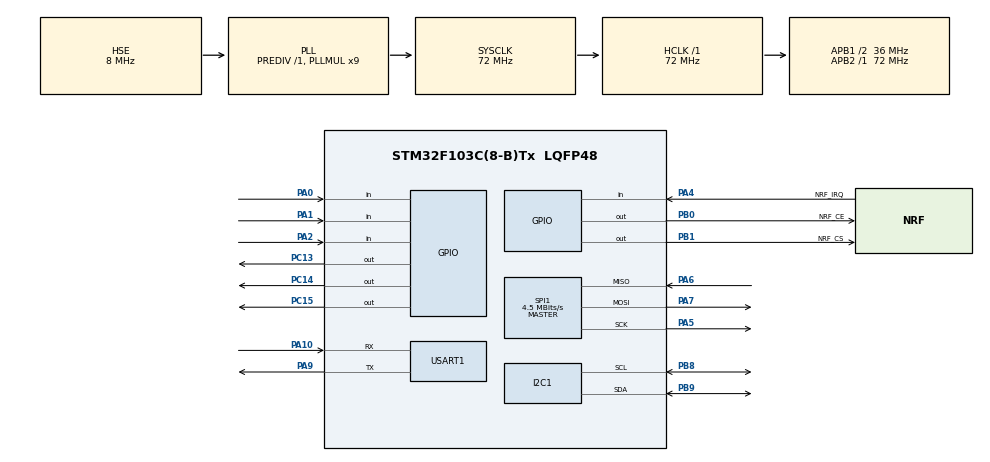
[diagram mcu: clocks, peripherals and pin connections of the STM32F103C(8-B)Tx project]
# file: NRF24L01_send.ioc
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Mcu.Family=STM32F1
Mcu.Name=STM32F103C(8-B)Tx
Mcu.Package=LQFP48
NVIC.PriorityGroup=NVIC_PRIORITYGROUP_4
NVIC.TIM3_IRQn=true\:0\:0\:false\:false\:true\:true\:true\:true
NVIC.USART1_IRQn=true\:0\:0\:false\:false\:true\:true\:true\:true
PA0-WKUP.GPIO_PuPd=GPIO_PULLUP
PA0-WKUP.Signal=GPIO_Input
PA1.GPIO_PuPd=GPIO_PULLUP
PA1.Signal=GPIO_Input
PA10.Mode=Asynchronous
PA10.Signal=USART1_RX
PA13.Mode=Serial_Wire
PA13.Signal=SYS_JTMS-SWDIO
PA14.Mode=Serial_Wire
PA14.Signal=SYS_JTCK-SWCLK
PA2.GPIO_PuPd=GPIO_PULLUP
PA2.Signal=GPIO_Input
PA4.GPIO_Label=NRF_IRQ
PA4.GPIO_PuPd=GPIO_PULLUP
PA4.Signal=GPIO_Input
PA5.Mode=Full_Duplex_Master
PA5.Signal=SPI1_SCK
PA6.Mode=Full_Duplex_Master
PA6.Signal=SPI1_MISO
PA7.Mode=Full_Duplex_Master
PA7.Signal=SPI1_MOSI
PA9.Mode=Asynchronous
PA9.Signal=USART1_TX
PB0.GPIO_Label=NRF_CE
PB0.GPIO_PuPd=GPIO_PULLUP
PB0.GPIO_Speed=GPIO_SPEED_FREQ_HIGH
PB0.Signal=GPIO_Output
PB1.GPIO_Label=NRF_CS
PB1.GPIO_PuPd=GPIO_PULLUP
PB1.GPIO_Speed=GPIO_SPEED_FREQ_HIGH
PB1.PinState=GPIO_PIN_SET
PB1.Signal=GPIO_Output
PB8.Mode=I2C
PB8.Signal=I2C1_SCL
PB9.Mode=I2C
PB9.Signal=I2C1_SDA
PC13-TAMPER-RTC.GPIO_Speed=GPIO_SPEED_FREQ_HIGH
PC13-TAMPER-RTC.PinState=GPIO_PIN_SET
PC13-TAMPER-RTC.Signal=GPIO_Output
PC14-OSC32_IN.PinState=GPIO_PIN_SET
PC14-OSC32_IN.Signal=GPIO_Output
PC15-OSC32_OUT.PinState=GPIO_PIN_SET
PC15-OSC32_OUT.Signal=GPIO_Output
PD0-OSC_IN.Mode=HSE-External-Oscillator
PD0-OSC_IN.Signal=RCC_OSC_IN
PD1-OSC_OUT.Mode=HSE-External-Oscillator
PD1-OSC_OUT.Signal=RCC_OSC_OUT
ProjectManager.HeapSize=0x200
ProjectManager.StackSize=0x400
ProjectManager.TargetToolchain=MDK-ARM V5.32
RCC.AHBFreq_Value=72000000
RCC.APB1CLKDivider=RCC_HCLK_DIV2
RCC.APB1Freq_Value=36000000
RCC.APB1TimFreq_Value=72000000
RCC.APB2Freq_Value=72000000
RCC.APB2TimFreq_Value=72000000
RCC.HCLKFreq_Value=72000000
RCC.PLLMUL=RCC_PLL_MUL9
RCC.PLLSourceVirtual=RCC_PLLSOURCE_HSE
RCC.SYSCLKFreq_VALUE=72000000
RCC.SYSCLKSource=RCC_SYSCLKSOURCE_PLLCLK
RCC.USBFreq_Value=72000000
SPI1.BaudRatePrescaler=SPI_BAUDRATEPRESCALER_16
SPI1.CalculateBaudRate=4.5 MBits/s
SPI1.Direction=SPI_DIRECTION_2LINES
SPI1.Mode=SPI_MODE_MASTER
SPI1.VirtualType=VM_MASTER
TIM3.Period=10000-1
TIM3.Prescaler=72-1
USART1.VirtualMode=VM_ASYNC
VP_TIM3_VS_ClockSourceINT.Mode=Internal
board=custom

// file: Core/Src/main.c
/* USER CODE BEGIN Header */
/**
  ******************************************************************************
  * @file           : main.c
  * @brief          : Main program body
  ******************************************************************************
  * @attention
  *
  * Copyright (c) 2024 STMicroelectronics.
  * All rights reserved.
  *
  * This software is licensed under terms that can be found in the LICENSE file
  * in the root directory of this software component.
  * If no LICENSE file comes with this software, it is provided AS-IS.
  *
  ******************************************************************************
  */
/* USER CODE END Header */
#include "main.h"
#include "i2c.h"
#include "spi.h"
#include "tim.h"
#include "usart.h"
#include "gpio.h"

/* USER CODE BEGIN Includes */
#include "stdio.h"
#include "string.h"
#include "NRF24L01.h"
#include "key.h"
#include "led.h"
#include "OLED.h"
/* USER CODE END Includes */

/* USER CODE BEGIN PTD */
extern struct keys key[];

// 按键计数变量
uint32_t key1_press_count = 0; // PA0按下计数
uint32_t key2_press_count = 0; // PA1按下计数
uint32_t key3_press_count = 0; // PB10按下计数
char buffer[16];  // 用于存储转换后的字符串

/* USER CODE END PTD */

void SystemClock_Config(void);

int main(void)
{

  /* USER CODE BEGIN 1 */
//uint8_t Send_Out[33]="本段数据来自NRF24L01发送端 ";   //要发送的内容(单次最多32个字节)

  /* USER CODE END 1 */

  /* MCU Configuration--------------------------------------------------------*/

  /* Reset of all peripherals, Initializes the Flash interface and the Systick. */
  HAL_Init();

  /* Configure the system clock */
  SystemClock_Config();

  /* Initialize all configured peripherals */
  MX_GPIO_Init();
  MX_SPI1_Init();
  MX_USART1_UART_Init();
  MX_I2C1_Init();
  MX_TIM3_Init();
  /* USER CODE BEGIN 2 */
  OLED_Init();
  OLED_Clear();
	OLED_ShowString(4, 15, "OK");

	HAL_TIM_Base_Start_IT(&htim3);

while(NRF24L01_Check())
    {
        printf("检测不到NRF24L01无线模块，请检查硬件连接\r\n");
        HAL_Delay(1000);
    }

    printf("NRF24L01无线模块硬件连接正常\r\n");
    NRF24L01_TX_Mode();//设置为发送模式
    printf("进入数据发送模式，每1s发送一次数据\r\n");
  /* USER CODE END 2 */

  /* Infinite loop */
  while (1)
  {

    /* USER CODE BEGIN 3 */
      // 检测按键1是否被按下
//    if(HAL_GPIO_ReadPin(GPIOA,GPIO_PIN_0)==GPIO_PIN_RESET) // 按键1低电平有效
//    {
//        uint8_t Send_Out[2] = "1";  // 准备发送数字"1"
//
//        if (NRF24L01_TxPacket(Send_Out) == TX_OK)
//        {
//            printf("NRF24L01无线模块数据发送成功：%s\r\n", Send_Out);
//            printf("OK\r\n");
//            OLED_ShowString(8, 2, (char*)Send_Out);  // 在OLED上显示接收到的数字

//        }
//        else
//        {
//            printf("NRF24L01无线模块数据发送失败\r\n");
//        }

//        HAL_Delay(20);  // 消抖延时
//    }
//
//     // 检测按键2是否被按下
//    if(HAL_GPIO_ReadPin(GPIOA,GPIO_PIN_1)==GPIO_PIN_RESET) // 按键2低电平有效
//    {
//        uint8_t Send_Out[2] = "2";  // 准备发送数字"2"

//			 HAL_Delay(20);  // 消抖延时
//
//        if (NRF24L01_TxPacket(Send_Out) == TX_OK)
//        {
//            printf("NRF24L01无线模块数据发送成功：%s\r\n", Send_Out);
//            printf("OK\r\n");
//            OLED_ShowString(8, 2, (char*)Send_Out);  // 在OLED上显示接收到的数字

//        }
//        else
//        {
//            printf("NRF24L01无线模块数据发送失败\r\n");
//        }

//
//    }

//    // 检测按键3是否被按下
//    if(HAL_GPIO_ReadPin(GPIOA,GPIO_PIN_2)==GPIO_PIN_RESET) // 按键3低电平有效
//    {
//
//        uint8_t Send_Out[2] = "3";  // 准备发送数字"3"
//
//        if (NRF24L01_TxPacket(Send_Out) == TX_OK)
//        {
//            printf("NRF24L01无线模块数据发送成功：%s\r\n", Send_Out);
//            printf("OK\r\n");
//            OLED_ShowString(8, 2, (char*)Send_Out);  // 在OLED上显示接收到的数字
//
//        }
//        else
//        {
//            printf("NRF24L01无线模块数据发送失败\r\n");
//        }

//        HAL_Delay(20);  // 消抖延时
//    }

			if(key[0].single_flag==1)
			{
				 uint8_t Send_Out[2] = "1";  // 准备发送数字"1"

				key1_press_count++;
				OLED_ShowString(1, 1, "key1_num:");
    OLED_ShowNum(1, 11, key1_press_count, 2); // 显示按键3被按下的次数

        if (NRF24L01_TxPacket(Send_Out) == TX_OK)
        {
            printf("NRF24L01无线模块数据发送成功：%s\r\n", Send_Out);
            printf("OK\r\n");
            OLED_ShowString(8, 2, (char*)Send_Out);  // 在OLED上显示接收到的数字

        }
        else
        {
            printf("NRF24L01无线模块数据发送失败\r\n");
        }

				key[0].single_flag=0;
			}

			if(key[1].single_flag==1)
			{
				uint8_t Send_Out[2] = "2";  // 准备发送数字"2"

				key2_press_count++;
				OLED_ShowString(2, 1, "key2_num:");
    OLED_ShowNum(2, 11, key2_press_count, 2); // 显示按键3被按下的次数

        if (NRF24L01_TxPacket(Send_Out) == TX_OK)
        {
            printf("NRF24L01无线模块数据发送成功：%s\r\n", Send_Out);
            printf("OK\r\n");
            OLED_ShowString(8, 2, (char*)Send_Out);  // 在OLED上显示接收到的数字

        }
        else
        {
            printf("NRF24L01无线模块数据发送失败\r\n");
        }

				key[1].single_flag=0;
			}

			if(key[2].single_flag==1)
			{
				key3_press_count++;
				OLED_ShowString(3, 1, "key3_num:");
    OLED_ShowNum(3, 11, key3_press_count, 2); // 显示按键3被按下的次数

				 uint8_t Send_Out[2] = "3";  // 准备发送数字"3"

        if (NRF24L01_TxPacket(Send_Out) == TX_OK)
        {
            printf("NRF24L01无线模块数据发送成功：%s\r\n", Send_Out);
            printf("OK\r\n");
            OLED_ShowString(8, 2, (char*)Send_Out);  // 在OLED上显示接收到的数字

        }
        else
        {
            printf("NRF24L01无线模块数据发送失败\r\n");
        }

				key[2].single_flag=0;
			}

  }
  /* USER CODE END 3 */
}

void SystemClock_Config(void)
{
  RCC_OscInitTypeDef RCC_OscInitStruct = {0};
  RCC_ClkInitTypeDef RCC_ClkInitStruct = {0};

  /** Initializes the RCC Oscillators according to the specified parameters
  * in the RCC_OscInitTypeDef structure.
  */
  RCC_OscInitStruct.OscillatorType = RCC_OSCILLATORTYPE_HSE;
  RCC_OscInitStruct.HSEState = RCC_HSE_ON;
  RCC_OscInitStruct.HSEPredivValue = RCC_HSE_PREDIV_DIV1;
  RCC_OscInitStruct.HSIState = RCC_HSI_ON;
  RCC_OscInitStruct.PLL.PLLState = RCC_PLL_ON;
  RCC_OscInitStruct.PLL.PLLSource = RCC_PLLSOURCE_HSE;
  RCC_OscInitStruct.PLL.PLLMUL = RCC_PLL_MUL9;
  if (HAL_RCC_OscConfig(&RCC_OscInitStruct) != HAL_OK)
  {
    Error_Handler();
  }

  /** Initializes the CPU, AHB and APB buses clocks
  */
  RCC_ClkInitStruct.ClockType = RCC_CLOCKTYPE_HCLK|RCC_CLOCKTYPE_SYSCLK
                              |RCC_CLOCKTYPE_PCLK1|RCC_CLOCKTYPE_PCLK2;
  RCC_ClkInitStruct.SYSCLKSource = RCC_SYSCLKSOURCE_PLLCLK;
  RCC_ClkInitStruct.AHBCLKDivider = RCC_SYSCLK_DIV1;
  RCC_ClkInitStruct.APB1CLKDivider = RCC_HCLK_DIV2;
  RCC_ClkInitStruct.APB2CLKDivider = RCC_HCLK_DIV1;

  if (HAL_RCC_ClockConfig(&RCC_ClkInitStruct, FLASH_LATENCY_2) != HAL_OK)
  {
    Error_Handler();
  }
}

void Error_Handler(void)
{
  __disable_irq();
  while (1)
  {
  }
}
